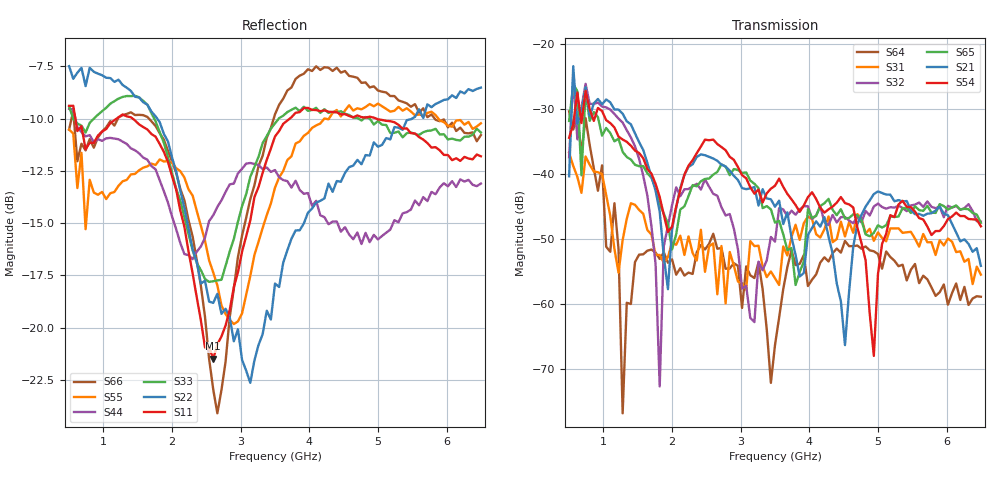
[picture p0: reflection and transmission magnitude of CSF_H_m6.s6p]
!Keysight Technologies,M9804A,MY58100912,A.14.10.03
!Date: Thursday, April 27, 2023 10:28:33
!Correction: S11(C  6-Port  )
!S12(C  6-Port  )
!S13(C  6-Port  )
!S14(C  6-Port  )
!S15(C  6-Port  )
!S16(C  6-Port  )
!S21(C  6-Port  )
!S22(C  6-Port  )
!S23(C  6-Port  )
!S24(C  6-Port  )
!S25(C  6-Port  )
!S26(C  6-Port  )
!S31(C  6-Port  )
!S32(C  6-Port  )
!S33(C  6-Port  )
!S34(C  6-Port  )
!S35(C  6-Port  )
!S36(C  6-Port  )
!S41(C  6-Port  )
!S42(C  6-Port  )
!S43(C  6-Port  )
!S44(C  6-Port  )
!S45(C  6-Port  )
!S46(C  6-Port  )
!S51(C  6-Port  )
!S52(C  6-Port  )
!S53(C  6-Port  )
!S54(C  6-Port  )
!S55(C  6-Port  )
!S56(C  6-Port  )
!S61(C  6-Port  )
!S62(C  6-Port  )
!S63(C  6-Port  )
!S64(C  6-Port  )
!S65(C  6-Port  )
!S66(C  6-Port  )
!S6P File: Measurement: :
# Hz S  RI  R 50
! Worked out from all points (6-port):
!   101 points, 500 MHz to 6.5 GHz, reference 50 ohm
!   strongest paths, dB at 500 MHz, 2 GHz, 3.5 GHz, 5 GHz, 6.5 GHz:
!     S54: -34.4, -48.1, -41.8, -55.4, -48.0
!     S21: -40.3, -48.5, -45.0, -42.6, -54.1
!     S65: -31.8, -51.6, -47.4, -47.8, -47.4
!     S32: -37.4, -44.7, -50.3, -44.5, -47.3
!     S31: -36.7, -50.5, -56.0, -48.9, -55.4
!     S64: -30.3, -53.1, -66.3, -52.3, -58.8
!   lowest |S11| = -21.5 dB at 2.6 GHz (marker M1), VSWR 1.18, Z = 42.5 + j2.18 ohm
!   |S11| at or under -10 dB: 590.6 MHz to 1.191 GHz (600.7 MHz wide, 67.4 % of centre); 1.426 GHz to 3.714 GHz (2.288 GHz wide, 89 % of centre); 4.977 GHz to end of sweep
